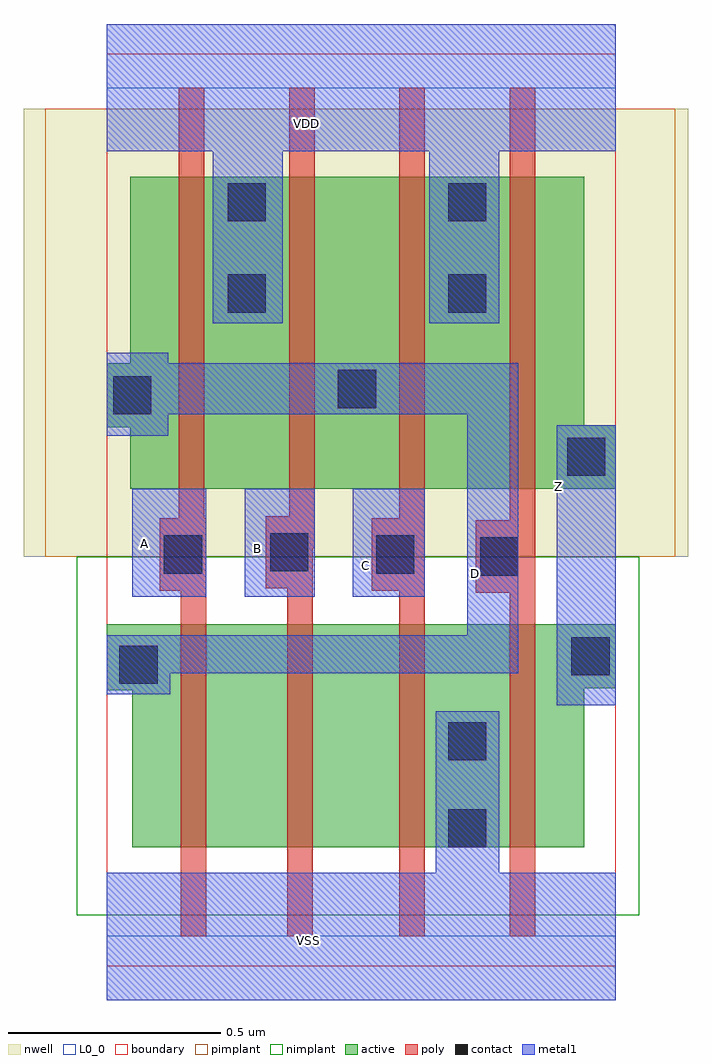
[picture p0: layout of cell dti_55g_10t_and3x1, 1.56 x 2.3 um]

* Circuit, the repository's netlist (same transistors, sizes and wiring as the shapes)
*##########################################################################################
* Copyright (c) 2023 Dolphin Technology, Inc.
* This netlist is proprietary and confidential information of
* Dolphin Technology, Inc. and can only be used or viewed
* under license or with written permission from Dolphin Technology, Inc.
*##########################################################################################
* /data/projects/stdcells/scripts_svn_update_flow/Update_property_flow/lvsNetlist.pl -c dti_55g_10t_and3x1 -p /data/projects/stdcells/scripts_svn_update_flow/Update_property_flow/params/params55.sp -s netlist -d lvs -nglob
* dt35-linux:/data/projects/stdcells/REPOSITORY_RV003/ckt/tsmc55 
* dti_55g_10t_and3x1.ckt generated on 6/2/2023 at 17:22:35
*##########################################################################################
* Dependencies
*##########################################################################################

.param wnd=1u wpd=1u

.option scale=1

.global vdd vss vddps vddcs
* DAMN, don't know where the cell is 
.subckt dti_55g_10t_and3x1 VDD VSS C Z A B
mp4 N1N47 C VDD VDD pch l=0.06u w=0.735u
mp2 N1N47 A VDD VDD pch l=0.06u w=0.735u
mp1 Z N1N47 VDD VDD pch l=0.06u w=0.735u
mn1 Z N1N47 VSS VSS nch l=0.06u w=0.525u
mp3 N1N47 B VDD VDD pch l=0.06u w=0.735u
mn2 N1N47 A N1N43 VSS nch l=0.06u w=0.525u
mn3 N1N43 B N1N71 VSS nch l=0.06u w=0.525u
mn4 N1N71 C VSS VSS nch l=0.06u w=0.525u
.ends

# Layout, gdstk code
from math import pi, radians
import gdstk
lib = gdstk.Library(unit=1e-6, precision=1e-09)
def R(c, l, rs):  # rectangles x0, y0, x1, y1
    for r in rs: c.add(gdstk.rectangle(r[:2], r[2:], *l))
def A(c, l, x, y, w, h, nx, ny, dx, dy):  # array of equal rectangles
    R(c, l, [(x+i*dx, y+j*dy, x+i*dx+w, y+j*dy+h) for i in range(nx) for j in range(ny)])
def P(c, l, *ps):  # polygons
    for p in ps: c.add(gdstk.Polygon(p, *l))
L0_0 = (0, 0)
nwell = (3, 0)
active = (6, 0)
poly = (17, 0)
pimplant = (25, 0)
nimplant = (26, 0)
contact = (30, 0)
metal1 = (31, 0)
boundary = (108, 0)
L923_0 = (923, 0)

template_55g_10t = lib.new_cell('template_55g_10t')
R(template_55g_10t, metal1, [(0,-0.15,0.2,0.15), (0,1.85,0.2,2.15)])
template_55g_10t.add(gdstk.FlexPath([(0.2,0.21),(0,0.21)], 0, ends="flush", simple_path=True, layer=923, datatype=0))  # L923_0
template_55g_10t.add(gdstk.FlexPath([(0.2,0.735),(0,0.735)], 0, ends="flush", simple_path=True, layer=923, datatype=0))  # L923_0
template_55g_10t.add(gdstk.FlexPath([(0.2,0.895),(0,0.895)], 0, ends="flush", simple_path=True, layer=923, datatype=0))  # L923_0
template_55g_10t.add(gdstk.FlexPath([(0.2,1.055),(0,1.055)], 0, ends="flush", simple_path=True, layer=923, datatype=0))  # L923_0
template_55g_10t.add(gdstk.FlexPath([(0.2,1.79),(0,1.79)], 0, ends="flush", simple_path=True, layer=923, datatype=0))  # L923_0

cellgrid_nom2 = lib.new_cell('cellgrid_noM2')
R(cellgrid_nom2, L0_0, [(0,0,0.2,0.2)])
cellgrid_nom2.add(gdstk.FlexPath([(0.2,0),(0,0.2)], 0, ends="flush", simple_path=True, layer=0, datatype=0))  # L0_0
cellgrid_nom2.add(gdstk.FlexPath([(0.2,0.2),(0,0)], 0, ends="flush", simple_path=True, layer=0, datatype=0))  # L0_0

pmos_735_n_2 = lib.new_cell('pmos_735_n_2')
R(pmos_735_n_2, nwell, [(-0.275,-0.16,0.335,0.895)])
R(pmos_735_n_2, active, [(-0.115,0,0.175,0.735)])
R(pmos_735_n_2, poly, [(0,-0.14,0.06,0.875)])
R(pmos_735_n_2, pimplant, [(-0.245,-0.16,0.305,0.895)])

nmos_525_n_2 = lib.new_cell('nmos_525_n_2')
R(nmos_525_n_2, active, [(-0.115,0,0.175,0.525)])
R(nmos_525_n_2, poly, [(0,-0.14,0.06,0.665)])
R(nmos_525_n_2, nimplant, [(-0.245,-0.16,0.305,0.685)])

cnt_n = lib.new_cell('cnt_n')
R(cnt_n, active, [(-0.06,-0.075,0.06,0.075)])
R(cnt_n, contact, [(-0.045,-0.045,0.045,0.045)])
R(cnt_n, metal1, [(-0.045,-0.045,0.045,0.045)])

cnt = lib.new_cell('cnt')
R(cnt, contact, [(-0.045,-0.045,0.045,0.045)])
R(cnt, metal1, [(-0.045,-0.045,0.045,0.045)])

pcnt_v = lib.new_cell('pcnt_v')
R(pcnt_v, poly, [(-0.055,-0.085,0.055,0.085)])
pcnt_v.add(gdstk.Reference(cnt, (0,0)))

dti_55g_10t_and3x1 = lib.new_cell('dti_55g_10t_and3x1')
R(dti_55g_10t_and3x1, nwell, [(-0.195,0.895,1.37,1.95), (-0.13,0.895,1.305,1.95)])
R(dti_55g_10t_and3x1, active, [(0,0.59,0.06,0.735), (1.19,1.055,1.2,1.205)])
A(dti_55g_10t_and3x1, poly, 0.17, 1.93, 0.06, 0.07, 4, 1, 0.26, 0)
R(dti_55g_10t_and3x1, poly, [(0.175,0,0.235,0.07), (0.425,0,0.485,0.07), (0.69,0,0.75,0.07), (0.95,0,1.01,0.07), (0.735,0.875,0.75,0.915), (0.98,0.875,1.01,0.915)])
P(dti_55g_10t_and3x1, pimplant, [(-0.145,0.895),(-0.145,1.95),(1.34,1.95),(1.34,1.125),(1.34,1.125),(1.34,0.895)])
R(dti_55g_10t_and3x1, metal1, [(0.775,0.15,0.925,0.53), (1.06,0.545,1.2,1.205), (0,0.57,0.15,0.71), (0.15,0.62,0.97,0.71), (0.85,0.71,0.97,0.795), (0.85,0.795,0.97,1.005), (0.06,0.8,0.235,1.055), (0.325,0.8,0.49,1.055), (0.58,0.8,0.75,1.055), (0.85,1.005,0.97,1.23), (0,1.18,0.145,1.375), (0.145,1.23,0.97,1.35), (0.25,1.445,0.415,1.85), (0.76,1.445,0.925,1.85)])
R(dti_55g_10t_and3x1, boundary, [(0,-0.07,1.2,2.08)])
r = gdstk.Reference(template_55g_10t, (0,0)); r.repetition = gdstk.Repetition(6, 1, v1=(0.2,0), v2=(0,0)); dti_55g_10t_and3x1.add(r)
r = gdstk.Reference(cellgrid_nom2, (0,0)); r.repetition = gdstk.Repetition(6, 10, v1=(0.2,0), v2=(0,0.2)); dti_55g_10t_and3x1.add(r)
dti_55g_10t_and3x1.add(gdstk.Reference(pmos_735_n_2, (0.17,1.055)))
dti_55g_10t_and3x1.add(gdstk.Reference(pmos_735_n_2, (0.43,1.055)))
dti_55g_10t_and3x1.add(gdstk.Reference(pmos_735_n_2, (0.69,1.055)))
dti_55g_10t_and3x1.add(gdstk.Reference(pmos_735_n_2, (0.95,1.055)))
dti_55g_10t_and3x1.add(gdstk.Reference(nmos_525_n_2, (0.175,0.21)))
dti_55g_10t_and3x1.add(gdstk.Reference(nmos_525_n_2, (0.425,0.21)))
dti_55g_10t_and3x1.add(gdstk.Reference(nmos_525_n_2, (0.69,0.21)))
dti_55g_10t_and3x1.add(gdstk.Reference(nmos_525_n_2, (0.95,0.21)))
dti_55g_10t_and3x1.add(gdstk.Reference(cnt_n, (0.06,1.275), rotation=pi))
dti_55g_10t_and3x1.add(gdstk.Reference(cnt_n, (0.075,0.64), rotation=pi/2))
dti_55g_10t_and3x1.add(gdstk.Reference(cnt_n, (0.33,1.73), rotation=pi/2))
dti_55g_10t_and3x1.add(gdstk.Reference(cnt_n, (0.33,1.515), rotation=pi/2))
dti_55g_10t_and3x1.add(gdstk.Reference(cnt_n, (0.85,1.73), rotation=pi/2))
dti_55g_10t_and3x1.add(gdstk.Reference(cnt_n, (0.85,1.515), rotation=pi/2))
dti_55g_10t_and3x1.add(gdstk.Reference(pcnt_v, (0.925,0.895)))
dti_55g_10t_and3x1.add(gdstk.Reference(cnt, (0.59,1.29), rotation=pi))
dti_55g_10t_and3x1.add(gdstk.Reference(pcnt_v, (0.18,0.9)))
dti_55g_10t_and3x1.add(gdstk.Reference(pcnt_v, (0.43,0.905)))
dti_55g_10t_and3x1.add(gdstk.Reference(pcnt_v, (0.68,0.9)))
dti_55g_10t_and3x1.add(gdstk.Reference(cnt, (0.85,0.46)))
dti_55g_10t_and3x1.add(gdstk.Reference(cnt, (0.85,0.255)))
dti_55g_10t_and3x1.add(gdstk.Reference(cnt_n, (1.13,1.13)))
dti_55g_10t_and3x1.add(gdstk.Reference(cnt_n, (1.14,0.66)))
dti_55g_10t_and3x1.add(gdstk.Label('C', (0.61,0.875), layer=131, texttype=0))
dti_55g_10t_and3x1.add(gdstk.Label('B', (0.355,0.915), layer=131, texttype=0))
dti_55g_10t_and3x1.add(gdstk.Label('A', (0.09,0.925), layer=131, texttype=0))
dti_55g_10t_and3x1.add(gdstk.Label('Z', (1.065,1.06), layer=131, texttype=0))
dti_55g_10t_and3x1.add(gdstk.Label('VDD', (0.47,1.915), layer=131, texttype=0))
dti_55g_10t_and3x1.add(gdstk.Label('VSS', (0.475,-0.01), layer=131, texttype=0))
dti_55g_10t_and3x1.add(gdstk.Label('D', (0.87,0.855), layer=131, texttype=0))

lib.write_gds('dti_55g_10t_and3x1.gds')
